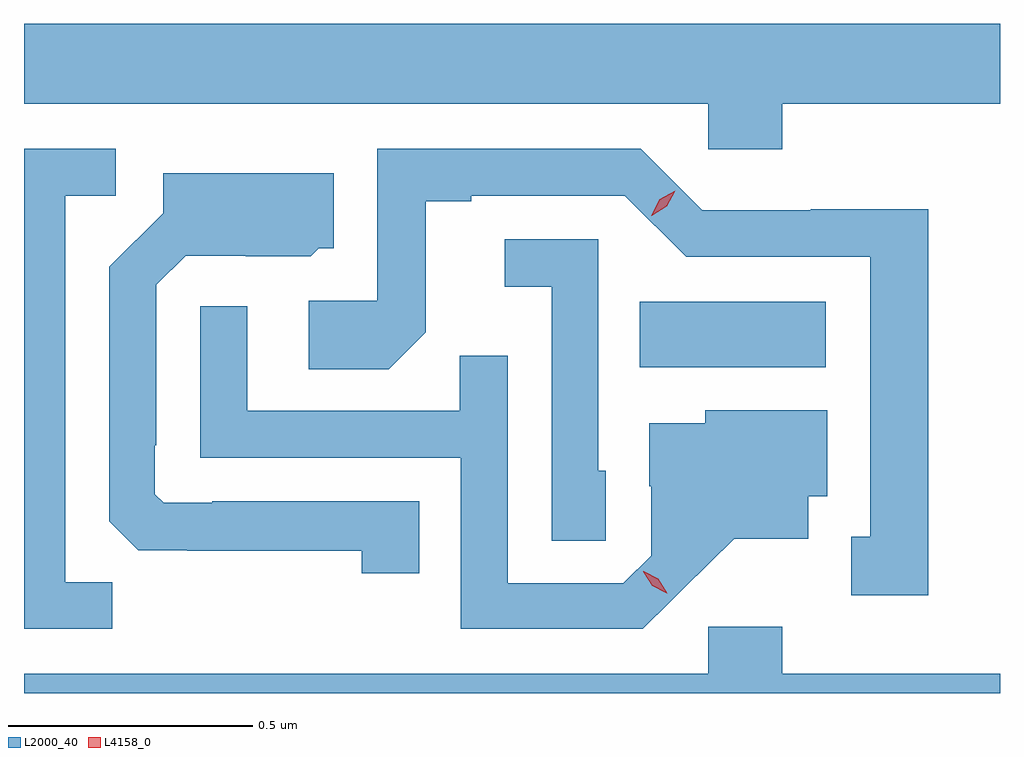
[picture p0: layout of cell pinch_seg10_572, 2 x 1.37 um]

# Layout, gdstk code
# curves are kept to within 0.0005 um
import gdstk
lib = gdstk.Library(unit=1e-6, precision=1e-09)
def R(c, l, rs):  # rectangles x0, y0, x1, y1
    for r in rs: c.add(gdstk.rectangle(r[:2], r[2:], *l))
def P(c, l, *ps):  # polygons
    for p in ps: c.add(gdstk.Polygon(p, *l))
L2000_40 = (2000, 40)
L4158_0 = (4158, 0)

pinch_seg10_572 = lib.new_cell('pinch_seg10_572')
R(pinch_seg10_572, L2000_40, [(383.788,1258.484,384.169,1258.618)])
P(pinch_seg10_572, L2000_40, [(384.08,1259.024),(384.526,1259.024),(384.526,1259.188),(382.526,1259.188),(382.526,1259.024),(383.928,1259.024),(383.928,1258.931),(384.08,1258.931)],
  [(382.707,1258.043),(382.611,1258.043),(382.611,1258.836),(382.714,1258.836),(382.714,1258.932),(382.526,1258.932),(382.526,1257.948),(382.707,1257.948)],
  [(384.379,1258.808),(384.138,1258.808),(384.138,1258.806),(383.916,1258.806),(383.79,1258.932),(383.25,1258.932),(383.25,1258.62),(383.109,1258.62),(383.109,1258.48),(383.273,1258.48),(383.349,1258.556),(383.349,1258.824),(383.443,1258.824),(383.443,1258.836),(383.757,1258.836),(383.883,1258.71),(384.26,1258.71),(384.26,1258.137),(384.221,1258.137),(384.221,1258.017),(384.379,1258.017)],
  [(383.336,1258.209),(382.912,1258.209),(382.912,1258.206),(382.812,1258.206),(382.794,1258.224),(382.794,1258.324),(382.797,1258.324),(382.797,1258.653),(382.857,1258.713),(382.98,1258.713),(382.98,1258.712),(383.114,1258.712),(383.13,1258.728),(383.161,1258.728),(383.161,1258.882),(382.811,1258.882),(382.811,1258.8),(382.701,1258.69),(382.701,1258.168),(382.76,1258.109),(382.861,1258.109),(382.861,1258.108),(383.218,1258.108),(383.218,1258.062),(383.336,1258.062)],
  [(383.718,1258.272),(383.703,1258.272),(383.703,1258.746),(383.511,1258.746),(383.511,1258.649),(383.607,1258.649),(383.607,1258.129),(383.718,1258.129)],
  [(383.851,1258.005),(383.981,1258.133),(384.133,1258.133),(384.133,1258.22),(384.172,1258.22),(384.172,1258.396),(383.922,1258.396),(383.922,1258.369),(383.807,1258.369),(383.807,1258.24),(383.811,1258.24),(383.811,1258.098),(383.754,1258.041),(383.517,1258.041),(383.517,1258.508),(383.419,1258.508),(383.419,1258.395),(382.983,1258.395),(382.983,1258.609),(382.887,1258.609),(382.887,1258.299),(383.421,1258.299),(383.421,1257.948),(383.794,1257.948)],
  [(384.526,1257.856),(384.08,1257.856),(384.08,1257.952),(383.928,1257.952),(383.928,1257.856),(382.526,1257.856),(382.526,1257.816),(384.526,1257.816)])
P(pinch_seg10_572, L4158_0, [(383.811,1258.795),(383.811,1258.795),(383.829,1258.828),(383.861,1258.846),(383.861,1258.846),(383.861,1258.846),(383.843,1258.814),(383.812,1258.795)],
  [(383.843,1258.021),(383.813,1258.036),(383.795,1258.065),(383.795,1258.066),(383.796,1258.066),(383.826,1258.051),(383.844,1258.021),(383.844,1258.021)])

lib.write_gds('pinch_seg10_572.gds')
